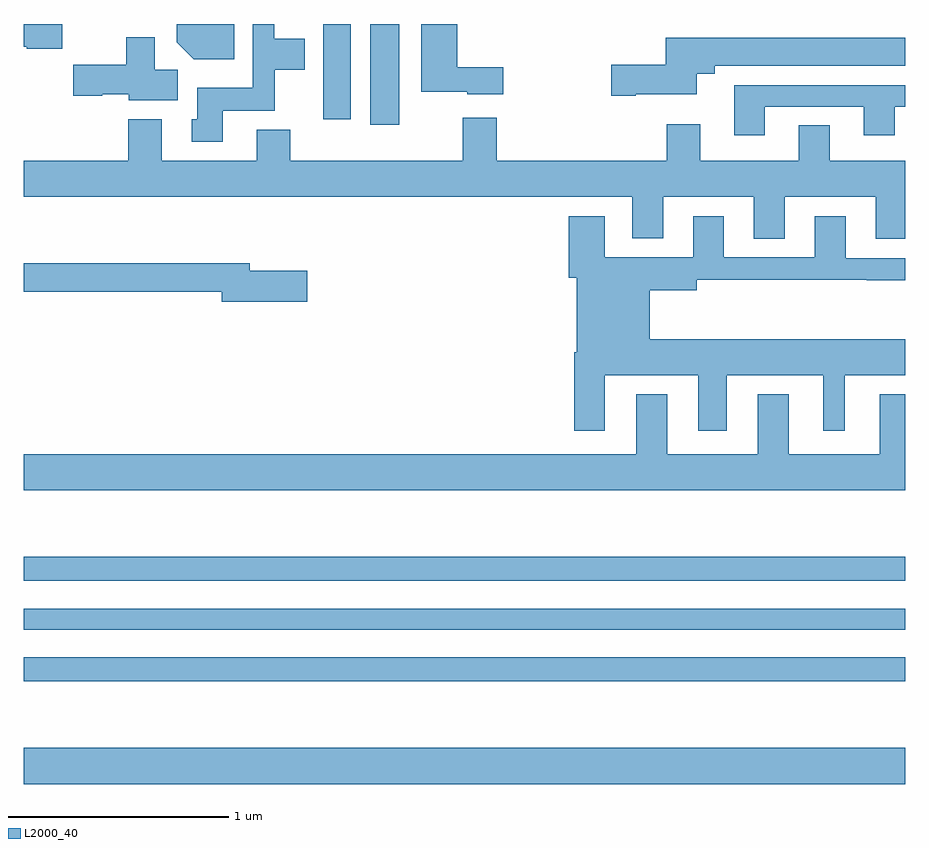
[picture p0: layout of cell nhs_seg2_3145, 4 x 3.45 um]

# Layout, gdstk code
import gdstk
lib = gdstk.Library(unit=1e-6, precision=1e-09)
def R(c, l, rs):  # rectangles x0, y0, x1, y1
    for r in rs: c.add(gdstk.rectangle(r[:2], r[2:], *l))
def P(c, l, *ps):  # polygons
    for p in ps: c.add(gdstk.Polygon(p, *l))
L2000_40 = (2000, 40)

nhs_seg2_3145 = lib.new_cell('nhs_seg2_3145')
R(nhs_seg2_3145, L2000_40, [(277,598.352,281,598.516), (277,598.818,281,598.926), (277,599.052,281,599.148), (277,599.274,281,599.383), (278.573,601.344,278.704,601.8), (278.36,601.368,278.485,601.8)])
P(nhs_seg2_3145, L2000_40, [(277.903,601.406),(278.139,601.406),(278.139,601.592),(278.275,601.592),(278.275,601.732),(278.136,601.732),(278.136,601.8),(278.04,601.8),(278.04,601.51),(277.787,601.51),(277.787,601.368),(277.763,601.368),(277.763,601.266),(277.903,601.266)],
  [(279.175,601.603),(278.966,601.603),(278.966,601.8),(278.804,601.8),(278.804,601.493),(279.012,601.493),(279.012,601.481),(279.175,601.481)],
  [(277.955,601.8),(277.694,601.8),(277.694,601.718),(277.772,601.64),(277.955,601.64)],
  [(277.176,601.8),(277,601.8),(277,601.696),(277.014,601.696),(277.014,601.688),(277.176,601.688)],
  [(277.699,601.592),(277.594,601.592),(277.594,601.741),(277.465,601.741),(277.465,601.616),(277.224,601.616),(277.224,601.474),(277.356,601.474),(277.356,601.481),(277.476,601.481),(277.476,601.454),(277.699,601.454)],
  [(279.778,601.481),(280.054,601.481),(280.054,601.574),(280.135,601.574),(280.135,601.61),(281,601.61),(281,601.738),(279.914,601.738),(279.914,601.616),(279.666,601.616),(279.666,601.474),(279.778,601.474)],
  [(280.363,601.425),(280.811,601.425),(280.811,601.296),(280.951,601.296),(280.951,601.425),(281,601.425),(281,601.521),(280.223,601.521),(280.223,601.296),(280.363,601.296)],
  [(280.453,601.016),(280.865,601.016),(280.865,600.826),(281,600.826),(281,601.18),(280.657,601.18),(280.657,601.34),(280.517,601.34),(280.517,601.18),(280.069,601.18),(280.069,601.345),(279.917,601.345),(279.917,601.18),(279.146,601.18),(279.146,601.375),(278.993,601.375),(278.993,601.18),(278.21,601.18),(278.21,601.321),(278.057,601.321),(278.057,601.18),(277.627,601.18),(277.627,601.369),(277.475,601.369),(277.475,601.18),(277,601.18),(277,601.016),(279.761,601.016),(279.761,600.827),(279.901,600.827),(279.901,601.016),(280.313,601.016),(280.313,600.826),(280.453,600.826)],
  [(279.637,600.206),(280.061,600.206),(280.061,599.955),(280.189,599.955),(280.189,600.206),(280.628,600.206),(280.628,599.955),(280.726,599.955),(280.726,600.206),(281,600.206),(281,600.37),(279.841,600.37),(279.841,600.593),(280.054,600.593),(280.054,600.64),(280.825,600.64),(280.825,600.638),(281,600.638),(281,600.738),(280.729,600.738),(280.729,600.928),(280.589,600.928),(280.589,600.741),(280.177,600.741),(280.177,600.928),(280.037,600.928),(280.037,600.742),(279.637,600.742),(279.637,600.928),(279.473,600.928),(279.473,600.648),(279.509,600.648),(279.509,600.31),(279.497,600.31),(279.497,599.955),(279.637,599.955)],
  [(278.287,600.681),(278.026,600.681),(278.026,600.715),(277,600.715),(277,600.586),(277.898,600.586),(277.898,600.539),(278.287,600.539)],
  [(281,600.121),(280.883,600.121),(280.883,599.848),(280.471,599.848),(280.471,600.121),(280.331,600.121),(280.331,599.848),(279.919,599.848),(279.919,600.121),(279.779,600.121),(279.779,599.848),(277,599.848),(277,599.684),(281,599.684)])

lib.write_gds('nhs_seg2_3145.gds')
